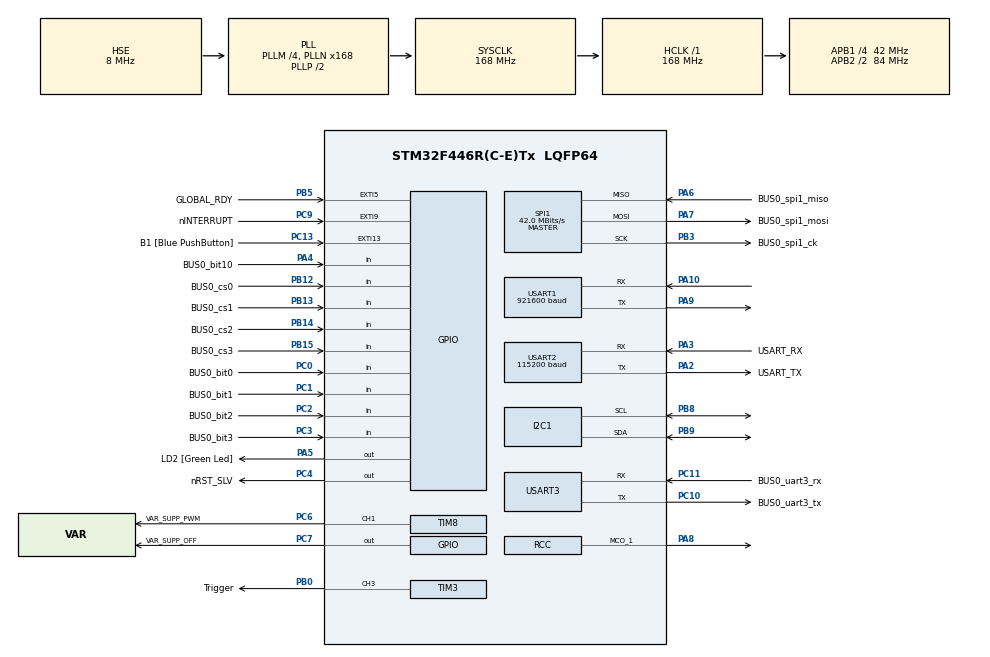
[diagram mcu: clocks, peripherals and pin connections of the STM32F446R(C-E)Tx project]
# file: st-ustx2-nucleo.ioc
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Dma.I2C1_RX.5.Direction=DMA_PERIPH_TO_MEMORY
Dma.I2C1_RX.5.FIFOMode=DMA_FIFOMODE_DISABLE
Dma.I2C1_RX.5.Instance=DMA1_Stream0
Dma.I2C1_RX.5.MemDataAlignment=DMA_MDATAALIGN_BYTE
Dma.I2C1_RX.5.MemInc=DMA_MINC_ENABLE
Dma.I2C1_RX.5.Mode=DMA_NORMAL
Dma.I2C1_RX.5.PeriphDataAlignment=DMA_PDATAALIGN_BYTE
Dma.I2C1_RX.5.PeriphInc=DMA_PINC_DISABLE
Dma.I2C1_RX.5.Priority=DMA_PRIORITY_LOW
Dma.I2C1_TX.4.Direction=DMA_MEMORY_TO_PERIPH
Dma.I2C1_TX.4.FIFOMode=DMA_FIFOMODE_DISABLE
Dma.I2C1_TX.4.Instance=DMA1_Stream7
Dma.I2C1_TX.4.MemDataAlignment=DMA_MDATAALIGN_BYTE
Dma.I2C1_TX.4.MemInc=DMA_MINC_ENABLE
Dma.I2C1_TX.4.Mode=DMA_NORMAL
Dma.I2C1_TX.4.PeriphDataAlignment=DMA_PDATAALIGN_BYTE
Dma.I2C1_TX.4.PeriphInc=DMA_PINC_DISABLE
Dma.I2C1_TX.4.Priority=DMA_PRIORITY_LOW
Dma.Request0=USART2_TX
Dma.Request1=USART2_RX
Dma.Request2=USART1_TX
Dma.Request3=USART1_RX
Dma.Request4=I2C1_TX
Dma.Request5=I2C1_RX
Dma.USART1_RX.3.Direction=DMA_PERIPH_TO_MEMORY
Dma.USART1_RX.3.FIFOMode=DMA_FIFOMODE_DISABLE
Dma.USART1_RX.3.Instance=DMA2_Stream2
Dma.USART1_RX.3.MemDataAlignment=DMA_MDATAALIGN_BYTE
Dma.USART1_RX.3.MemInc=DMA_MINC_ENABLE
Dma.USART1_RX.3.Mode=DMA_NORMAL
Dma.USART1_RX.3.PeriphDataAlignment=DMA_PDATAALIGN_BYTE
Dma.USART1_RX.3.PeriphInc=DMA_PINC_DISABLE
Dma.USART1_RX.3.Priority=DMA_PRIORITY_MEDIUM
Dma.USART1_TX.2.Direction=DMA_MEMORY_TO_PERIPH
Dma.USART1_TX.2.FIFOMode=DMA_FIFOMODE_DISABLE
Dma.USART1_TX.2.Instance=DMA2_Stream7
Dma.USART1_TX.2.MemDataAlignment=DMA_MDATAALIGN_BYTE
Dma.USART1_TX.2.MemInc=DMA_MINC_ENABLE
Dma.USART1_TX.2.Mode=DMA_NORMAL
Dma.USART1_TX.2.PeriphDataAlignment=DMA_PDATAALIGN_BYTE
Dma.USART1_TX.2.PeriphInc=DMA_PINC_DISABLE
Dma.USART1_TX.2.Priority=DMA_PRIORITY_MEDIUM
Dma.USART2_RX.1.Direction=DMA_PERIPH_TO_MEMORY
Dma.USART2_RX.1.FIFOMode=DMA_FIFOMODE_ENABLE
Dma.USART2_RX.1.FIFOThreshold=DMA_FIFO_THRESHOLD_HALFFULL
Dma.USART2_RX.1.Instance=DMA1_Stream5
Dma.USART2_RX.1.MemBurst=DMA_MBURST_SINGLE
Dma.USART2_RX.1.MemDataAlignment=DMA_MDATAALIGN_BYTE
Dma.USART2_RX.1.MemInc=DMA_MINC_ENABLE
Dma.USART2_RX.1.Mode=DMA_CIRCULAR
Dma.USART2_RX.1.PeriphBurst=DMA_PBURST_SINGLE
Dma.USART2_RX.1.PeriphDataAlignment=DMA_PDATAALIGN_BYTE
Dma.USART2_RX.1.PeriphInc=DMA_PINC_DISABLE
Dma.USART2_RX.1.Priority=DMA_PRIORITY_MEDIUM
Dma.USART2_TX.0.Direction=DMA_MEMORY_TO_PERIPH
Dma.USART2_TX.0.FIFOMode=DMA_FIFOMODE_ENABLE
Dma.USART2_TX.0.FIFOThreshold=DMA_FIFO_THRESHOLD_HALFFULL
Dma.USART2_TX.0.Instance=DMA1_Stream6
Dma.USART2_TX.0.MemBurst=DMA_MBURST_SINGLE
Dma.USART2_TX.0.MemDataAlignment=DMA_MDATAALIGN_BYTE
Dma.USART2_TX.0.MemInc=DMA_MINC_ENABLE
Dma.USART2_TX.0.Mode=DMA_NORMAL
Dma.USART2_TX.0.PeriphBurst=DMA_PBURST_SINGLE
Dma.USART2_TX.0.PeriphDataAlignment=DMA_PDATAALIGN_BYTE
Dma.USART2_TX.0.PeriphInc=DMA_PINC_DISABLE
Dma.USART2_TX.0.Priority=DMA_PRIORITY_MEDIUM
I2C1.OwnAddress=0x0
Mcu.Family=STM32F4
Mcu.Name=STM32F446R(C-E)Tx
Mcu.Package=LQFP64
NVIC.DMA1_Stream0_IRQn=true\:0\:0\:false\:false\:true\:false\:true\:true
NVIC.DMA1_Stream5_IRQn=true\:0\:0\:false\:false\:true\:false\:true\:true
NVIC.DMA1_Stream6_IRQn=true\:0\:0\:false\:false\:true\:false\:true\:true
NVIC.DMA1_Stream7_IRQn=true\:0\:0\:false\:false\:true\:false\:true\:true
NVIC.DMA2_Stream2_IRQn=true\:0\:0\:false\:false\:true\:false\:true\:true
NVIC.DMA2_Stream7_IRQn=true\:0\:0\:false\:false\:true\:false\:true\:true
NVIC.EXTI15_10_IRQn=true\:0\:0\:false\:false\:true\:true\:true\:true
NVIC.EXTI9_5_IRQn=true\:0\:0\:false\:false\:true\:true\:true\:true
NVIC.I2C1_ER_IRQn=true\:0\:0\:false\:false\:true\:true\:true\:true
NVIC.I2C1_EV_IRQn=true\:0\:0\:false\:false\:true\:true\:true\:true
NVIC.PriorityGroup=NVIC_PRIORITYGROUP_4
NVIC.TIM6_DAC_IRQn=true\:15\:0\:false\:false\:true\:false\:true\:true
NVIC.TimeBase=TIM6_DAC_IRQn
NVIC.TimeBaseIP=TIM6
NVIC.USART1_IRQn=true\:0\:0\:false\:false\:true\:true\:true\:true
NVIC.USART2_IRQn=true\:0\:0\:false\:false\:true\:true\:true\:true
PA10.Mode=Asynchronous
PA10.Signal=USART1_RX
PA13.GPIO_Label=TMS
PA13.Mode=Serial_Wire
PA13.Signal=SYS_JTMS-SWDIO
PA14.GPIO_Label=TCK
PA14.Mode=Serial_Wire
PA14.Signal=SYS_JTCK-SWCLK
PA2.GPIO_Label=USART_TX
PA2.Mode=Asynchronous
PA2.Signal=USART2_TX
PA3.GPIO_Label=USART_RX
PA3.Mode=Asynchronous
PA3.Signal=USART2_RX
PA4.GPIO_Label=BUS0_bit10
PA4.Signal=GPIO_Input
PA5.GPIO_Label=LD2 [Green Led]
PA5.Signal=GPIO_Output
PA6.GPIO_Label=BUS0_spi1_miso
PA6.Mode=Full_Duplex_Master
PA6.Signal=SPI1_MISO
PA7.GPIO_Label=BUS0_spi1_mosi
PA7.Mode=Full_Duplex_Master
PA7.Signal=SPI1_MOSI
PA8.GPIO_Speed=GPIO_SPEED_FREQ_VERY_HIGH
PA8.Mode=Clock-out-1
PA8.Signal=RCC_MCO_1
PA9.Mode=Asynchronous
PA9.Signal=USART1_TX
PB0.GPIO_Label=Trigger
PB0.GPIO_PuPd=GPIO_NOPULL
PB0.GPIO_Speed=GPIO_SPEED_FREQ_VERY_HIGH
PB0.Signal=S_TIM3_CH3
PB12.GPIO_Label=BUS0_cs0
PB12.Signal=GPIO_Input
PB13.GPIO_Label=BUS0_cs1
PB13.Signal=GPIO_Input
PB14.GPIO_Label=BUS0_cs2
PB14.Signal=GPIO_Input
PB15.GPIO_Label=BUS0_cs3
PB15.Signal=GPIO_Input
PB3.GPIO_Label=BUS0_spi1_ck
PB3.Mode=Full_Duplex_Master
PB3.Signal=SPI1_SCK
PB5.GPIO_Label=GLOBAL_RDY
PB5.Signal=GPXTI5
PB8.Mode=I2C
PB8.Signal=I2C1_SCL
PB9.Mode=I2C
PB9.Signal=I2C1_SDA
PC0.GPIO_Label=BUS0_bit0
PC0.Signal=GPIO_Input
PC1.GPIO_Label=BUS0_bit1
PC1.Signal=GPIO_Input
PC10.GPIO_Label=BUS0_uart3_tx
PC10.Mode=Asynchronous
PC10.Signal=USART3_TX
PC11.GPIO_Label=BUS0_uart3_rx
PC11.Mode=Asynchronous
PC11.Signal=USART3_RX
PC13.GPIO_Label=B1 [Blue PushButton]
PC13.GPIO_ModeDefaultEXTI=GPIO_MODE_IT_FALLING
PC13.Signal=GPXTI13
PC14-OSC32_IN.Mode=LSE-External-Oscillator
PC14-OSC32_IN.Signal=RCC_OSC32_IN
PC15-OSC32_OUT.Mode=LSE-External-Oscillator
PC15-OSC32_OUT.Signal=RCC_OSC32_OUT
PC2.GPIO_Label=BUS0_bit2
PC2.Signal=GPIO_Input
PC3.GPIO_Label=BUS0_bit3
PC3.Signal=GPIO_Input
PC4.GPIO_Label=nRST_SLV
PC4.GPIO_ModeDefaultOutputPP=GPIO_MODE_OUTPUT_OD
PC4.GPIO_PuPd=GPIO_NOPULL
PC4.PinState=GPIO_PIN_SET
PC4.Signal=GPIO_Output
PC6.GPIO_Label=VAR_SUPP_PWM
PC6.Signal=S_TIM8_CH1
PC7.GPIO_Label=VAR_SUPP_OFF
PC7.PinState=GPIO_PIN_SET
PC7.Signal=GPIO_Output
PC9.GPIO_Label=nINTERRUPT
PC9.Signal=GPXTI9
PH0-OSC_IN.Mode=HSE-External-Oscillator
PH0-OSC_IN.Signal=RCC_OSC_IN
PH1-OSC_OUT.Mode=HSE-External-Oscillator
PH1-OSC_OUT.Signal=RCC_OSC_OUT
ProjectManager.HeapSize=0x800
ProjectManager.StackSize=0x1000
ProjectManager.TargetToolchain=STM32CubeIDE
RCC.48MHZClocksFreq_Value=84000000
RCC.AHBFreq_Value=168000000
RCC.APB1CLKDivider=RCC_HCLK_DIV4
RCC.APB1Freq_Value=42000000
RCC.APB1TimFreq_Value=84000000
RCC.APB2CLKDivider=RCC_HCLK_DIV2
RCC.APB2Freq_Value=84000000
RCC.APB2TimFreq_Value=168000000
RCC.CortexFreq_Value=168000000
RCC.FLatency-AdvancedSettings=FLASH_LATENCY_5
RCC.HCLKFreq_Value=168000000
RCC.HSE_VALUE=8000000
RCC.HSI_VALUE=16000000
RCC.PLLM=4
RCC.PLLN=168
RCC.PLLQ=7
RCC.PLLSourceVirtual=RCC_PLLSOURCE_HSE
RCC.RCC_MCO1Source=RCC_MCO1SOURCE_HSE
RCC.RCC_MCODiv1=RCC_MCODIV_4
RCC.SYSCLKFreq_VALUE=168000000
RCC.SYSCLKSource=RCC_SYSCLKSOURCE_PLLCLK
RCC.USBFreq_Value=48000000
RCC.VCOOutputFreq_Value=336000000
SH.S_TIM3_CH3.0=TIM3_CH3,PWM Generation3 CH3
SH.S_TIM8_CH1.0=TIM8_CH1,PWM Generation1 CH1
SPI1.CalculateBaudRate=42.0 MBits/s
SPI1.Direction=SPI_DIRECTION_2LINES
SPI1.Mode=SPI_MODE_MASTER
SPI1.VirtualType=VM_MASTER
TIM3.Channel-PWM\ Generation3\ CH3=TIM_CHANNEL_3
TIM3.Period=49999
TIM3.Prescaler=167
TIM3.Pulse-PWM\ Generation3\ CH3=24999
TIM8.Channel-PWM\ Generation1\ CH1=TIM_CHANNEL_1
TIM8.Period=1000-1
TIM8.Prescaler=168-1
TIM8.Pulse-PWM\ Generation1\ CH1=500-1
USART1.BaudRate=921600
USART1.VirtualMode=VM_ASYNC
USART2.BaudRate=115200
USART2.VirtualMode=VM_ASYNC
USART3.VirtualMode=VM_ASYNC
VP_CRC_VS_CRC.Mode=CRC_Activate
VP_SYS_VS_tim6.Mode=TIM6
VP_TIM3_VS_ClockSourceINT.Mode=Internal
VP_TIM4_VS_ClockSourceINT.Mode=Internal
VP_TIM8_VS_ClockSourceINT.Mode=Internal
board=NUCLEO-F446RE

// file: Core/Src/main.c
/* USER CODE BEGIN Header */
/**
  ******************************************************************************
  * @file           : main.c
  * @brief          : Main program body
  ******************************************************************************
  * @attention
  *
  * Copyright (c) 2023 STMicroelectronics.
  * All rights reserved.
  *
  * This software is licensed under terms that can be found in the LICENSE file
  * in the root directory of this software component.
  * If no LICENSE file comes with this software, it is provided AS-IS.
  *
  ******************************************************************************
  */
/* USER CODE END Header */
#include "main.h"

/* USER CODE BEGIN Includes */
#include "uart_comms.h"
#include "trigger.h"
#include "logging.h"
#include "utils.h"

/* USER CODE END Includes */

CRC_HandleTypeDef hcrc;

I2C_HandleTypeDef hi2c1;
DMA_HandleTypeDef hdma_i2c1_tx;
DMA_HandleTypeDef hdma_i2c1_rx;

SPI_HandleTypeDef hspi1;

TIM_HandleTypeDef htim3;
TIM_HandleTypeDef htim4;
TIM_HandleTypeDef htim8;

UART_HandleTypeDef huart1;
UART_HandleTypeDef huart2;
UART_HandleTypeDef huart3;
DMA_HandleTypeDef hdma_usart1_tx;
DMA_HandleTypeDef hdma_usart1_rx;
DMA_HandleTypeDef hdma_usart2_tx;
DMA_HandleTypeDef hdma_usart2_rx;

/* USER CODE BEGIN PV */
uint8_t found_addresses[MAX_FOUND_ADDRESSES];
uint8_t found_address_count = 0;
/* USER CODE END PV */

void SystemClock_Config(void);
static void MX_GPIO_Init(void);
static void MX_DMA_Init(void);
static void MX_USART2_UART_Init(void);
static void MX_USART3_UART_Init(void);
static void MX_SPI1_Init(void);
static void MX_USART1_UART_Init(void);
static void MX_TIM3_Init(void);
static void MX_I2C1_Init(void);
static void MX_CRC_Init(void);
static void MX_TIM4_Init(void);
static void MX_TIM8_Init(void);
/* USER CODE BEGIN PFP */

uint8_t rxBuffer[COMMAND_MAX_SIZE];
uint8_t txBuffer[COMMAND_MAX_SIZE];
OW_TimerData _timerDataConfig;
OW_TriggerConfig _triggerConfig;

uint8_t FIRMWARE_VERSION_DATA[3] = {1, 0, 5};

/* USER CODE END PFP */

/* USER CODE BEGIN 0 */

static void PrintI2CSpeed(I2C_HandleTypeDef* hi2c) {
    uint32_t timing = hi2c->Init.ClockSpeed;
    printf("I2C Speed: %ld kHz\r\n\r\n", timing/1000); // Print the I2C speed in kHz
}

void setDutyCycle(uint32_t duty_cycle)
{
	TIM_OC_InitTypeDef sConfigOC = {0};

	// duty cyle percentange from 0 - 100
	if(duty_cycle>100)
		duty_cycle = 100;

    HAL_TIM_PWM_Stop(&htim8, TIM_CHANNEL_1);
    // Calculate pulse value
    uint32_t pulse = (duty_cycle * (htim8.Init.Period + 1)) / 100;
    if(pulse>0)
    	pulse = pulse -1;

    // Update PWM pulse
    sConfigOC.OCMode = TIM_OCMODE_PWM1;
    sConfigOC.Pulse = pulse;
    sConfigOC.OCPolarity = TIM_OCPOLARITY_HIGH;
    sConfigOC.OCNPolarity = TIM_OCNPOLARITY_HIGH;
    sConfigOC.OCFastMode = TIM_OCFAST_DISABLE;
    sConfigOC.OCIdleState = TIM_OCIDLESTATE_RESET;
    sConfigOC.OCNIdleState = TIM_OCNIDLESTATE_RESET;
    if (HAL_TIM_PWM_ConfigChannel(&htim8, &sConfigOC, TIM_CHANNEL_1) != HAL_OK)
    {
      Error_Handler();
    }

    HAL_TIM_PWM_ConfigChannel(&htim8, &sConfigOC, TIM_CHANNEL_1);
    HAL_TIM_PWM_Start(&htim8, TIM_CHANNEL_1);
}

/* USER CODE END 0 */

int main(void)
{

  /* MCU Configuration--------------------------------------------------------*/

  /* Reset of all peripherals, Initializes the Flash interface and the Systick. */
  HAL_Init();

  /* Configure the system clock */
  SystemClock_Config();

  /* Initialize all configured peripherals */
  MX_GPIO_Init();
  MX_DMA_Init();
  MX_USART2_UART_Init();
  MX_USART3_UART_Init();
  MX_SPI1_Init();
  MX_USART1_UART_Init();
  MX_TIM3_Init();
  MX_I2C1_Init();
  MX_CRC_Init();
  MX_TIM4_Init();
  MX_TIM8_Init();
  /* USER CODE BEGIN 2 */
  init_dma_logging();
  printf("\033c");
  printf("Openwater USTX2 Controller (Nucleo) FW v%d.%d.%d\r\n\r\n",FIRMWARE_VERSION_DATA[0], FIRMWARE_VERSION_DATA[1], FIRMWARE_VERSION_DATA[2]);
  printf("CPU Clock Frequency: %lu MHz\r\n", HAL_RCC_GetSysClockFreq() / 1000000);
  PrintI2CSpeed(&hi2c1);

  // setup default
  _timerDataConfig.TriggerFrequencyHz = 10;
  _timerDataConfig.TriggerPulseCount = 0; // no pulse count
  _timerDataConfig.TriggerPulseWidthUsec = 5000;
  _timerDataConfig.TriggerMode = 0; // continuous

  init_trigger_pulse(&htim3, TIM_CHANNEL_3);
  HAL_Delay(1);
  deinit_trigger_pulse(&htim3, TIM_CHANNEL_3);

  setDutyCycle(75); // Set duty cycle to 25%
  // HAL_TIM_PWM_Start(&htim8, TIM_CHANNEL_1);
  HAL_Delay(1000);

  // turn on power supply
  HAL_GPIO_WritePin(VAR_SUPP_OFF_GPIO_Port, VAR_SUPP_OFF_Pin, GPIO_PIN_RESET);

  HAL_Delay(1000);

  comms_start_task();

  /* USER CODE END 2 */

  /* Infinite loop */
  while (1)
  {

  }
}

void SystemClock_Config(void)
{
  RCC_OscInitTypeDef RCC_OscInitStruct = {0};
  RCC_ClkInitTypeDef RCC_ClkInitStruct = {0};

  /** Configure the main internal regulator output voltage
  */
  __HAL_RCC_PWR_CLK_ENABLE();
  __HAL_PWR_VOLTAGESCALING_CONFIG(PWR_REGULATOR_VOLTAGE_SCALE1);

  /** Initializes the RCC Oscillators according to the specified parameters
  * in the RCC_OscInitTypeDef structure.
  */
  RCC_OscInitStruct.OscillatorType = RCC_OSCILLATORTYPE_HSE;
  RCC_OscInitStruct.HSEState = RCC_HSE_ON;
  RCC_OscInitStruct.PLL.PLLState = RCC_PLL_ON;
  RCC_OscInitStruct.PLL.PLLSource = RCC_PLLSOURCE_HSE;
  RCC_OscInitStruct.PLL.PLLM = 4;
  RCC_OscInitStruct.PLL.PLLN = 168;
  RCC_OscInitStruct.PLL.PLLP = RCC_PLLP_DIV2;
  RCC_OscInitStruct.PLL.PLLQ = 7;
  RCC_OscInitStruct.PLL.PLLR = 2;
  if (HAL_RCC_OscConfig(&RCC_OscInitStruct) != HAL_OK)
  {
    Error_Handler();
  }

  /** Initializes the CPU, AHB and APB buses clocks
  */
  RCC_ClkInitStruct.ClockType = RCC_CLOCKTYPE_HCLK|RCC_CLOCKTYPE_SYSCLK
                              |RCC_CLOCKTYPE_PCLK1|RCC_CLOCKTYPE_PCLK2;
  RCC_ClkInitStruct.SYSCLKSource = RCC_SYSCLKSOURCE_PLLCLK;
  RCC_ClkInitStruct.AHBCLKDivider = RCC_SYSCLK_DIV1;
  RCC_ClkInitStruct.APB1CLKDivider = RCC_HCLK_DIV4;
  RCC_ClkInitStruct.APB2CLKDivider = RCC_HCLK_DIV2;

  if (HAL_RCC_ClockConfig(&RCC_ClkInitStruct, FLASH_LATENCY_5) != HAL_OK)
  {
    Error_Handler();
  }
  HAL_RCC_MCOConfig(RCC_MCO1, RCC_MCO1SOURCE_HSE, RCC_MCODIV_4);
}

static void MX_CRC_Init(void)
{

  hcrc.Instance = CRC;
  if (HAL_CRC_Init(&hcrc) != HAL_OK)
  {
    Error_Handler();
  }

}

static void MX_I2C1_Init(void)
{

  hi2c1.Instance = I2C1;
  hi2c1.Init.ClockSpeed = 100000;
  hi2c1.Init.DutyCycle = I2C_DUTYCYCLE_2;
  hi2c1.Init.OwnAddress1 = 0;
  hi2c1.Init.AddressingMode = I2C_ADDRESSINGMODE_7BIT;
  hi2c1.Init.DualAddressMode = I2C_DUALADDRESS_DISABLE;
  hi2c1.Init.OwnAddress2 = 0;
  hi2c1.Init.GeneralCallMode = I2C_GENERALCALL_DISABLE;
  hi2c1.Init.NoStretchMode = I2C_NOSTRETCH_DISABLE;
  if (HAL_I2C_Init(&hi2c1) != HAL_OK)
  {
    Error_Handler();
  }

}

static void MX_SPI1_Init(void)
{

  /* SPI1 parameter configuration*/
  hspi1.Instance = SPI1;
  hspi1.Init.Mode = SPI_MODE_MASTER;
  hspi1.Init.Direction = SPI_DIRECTION_2LINES;
  hspi1.Init.DataSize = SPI_DATASIZE_8BIT;
  hspi1.Init.CLKPolarity = SPI_POLARITY_LOW;
  hspi1.Init.CLKPhase = SPI_PHASE_1EDGE;
  hspi1.Init.NSS = SPI_NSS_SOFT;
  hspi1.Init.BaudRatePrescaler = SPI_BAUDRATEPRESCALER_2;
  hspi1.Init.FirstBit = SPI_FIRSTBIT_MSB;
  hspi1.Init.TIMode = SPI_TIMODE_DISABLE;
  hspi1.Init.CRCCalculation = SPI_CRCCALCULATION_DISABLE;
  hspi1.Init.CRCPolynomial = 10;
  if (HAL_SPI_Init(&hspi1) != HAL_OK)
  {
    Error_Handler();
  }

}

static void MX_TIM3_Init(void)
{

  TIM_ClockConfigTypeDef sClockSourceConfig = {0};
  TIM_MasterConfigTypeDef sMasterConfig = {0};
  TIM_OC_InitTypeDef sConfigOC = {0};

  htim3.Instance = TIM3;
  htim3.Init.Prescaler = 167;
  htim3.Init.CounterMode = TIM_COUNTERMODE_UP;
  htim3.Init.Period = 49999;
  htim3.Init.ClockDivision = TIM_CLOCKDIVISION_DIV1;
  htim3.Init.AutoReloadPreload = TIM_AUTORELOAD_PRELOAD_DISABLE;
  if (HAL_TIM_Base_Init(&htim3) != HAL_OK)
  {
    Error_Handler();
  }
  sClockSourceConfig.ClockSource = TIM_CLOCKSOURCE_INTERNAL;
  if (HAL_TIM_ConfigClockSource(&htim3, &sClockSourceConfig) != HAL_OK)
  {
    Error_Handler();
  }
  if (HAL_TIM_PWM_Init(&htim3) != HAL_OK)
  {
    Error_Handler();
  }
  sMasterConfig.MasterOutputTrigger = TIM_TRGO_RESET;
  sMasterConfig.MasterSlaveMode = TIM_MASTERSLAVEMODE_DISABLE;
  if (HAL_TIMEx_MasterConfigSynchronization(&htim3, &sMasterConfig) != HAL_OK)
  {
    Error_Handler();
  }
  sConfigOC.OCMode = TIM_OCMODE_PWM1;
  sConfigOC.Pulse = 24999;
  sConfigOC.OCPolarity = TIM_OCPOLARITY_HIGH;
  sConfigOC.OCFastMode = TIM_OCFAST_DISABLE;
  if (HAL_TIM_PWM_ConfigChannel(&htim3, &sConfigOC, TIM_CHANNEL_3) != HAL_OK)
  {
    Error_Handler();
  }
  HAL_TIM_MspPostInit(&htim3);

}

static void MX_TIM4_Init(void)
{

  TIM_ClockConfigTypeDef sClockSourceConfig = {0};
  TIM_MasterConfigTypeDef sMasterConfig = {0};

  htim4.Instance = TIM4;
  htim4.Init.Prescaler = 0;
  htim4.Init.CounterMode = TIM_COUNTERMODE_UP;
  htim4.Init.Period = 65535;
  htim4.Init.ClockDivision = TIM_CLOCKDIVISION_DIV1;
  htim4.Init.AutoReloadPreload = TIM_AUTORELOAD_PRELOAD_DISABLE;
  if (HAL_TIM_Base_Init(&htim4) != HAL_OK)
  {
    Error_Handler();
  }
  sClockSourceConfig.ClockSource = TIM_CLOCKSOURCE_INTERNAL;
  if (HAL_TIM_ConfigClockSource(&htim4, &sClockSourceConfig) != HAL_OK)
  {
    Error_Handler();
  }
  sMasterConfig.MasterOutputTrigger = TIM_TRGO_RESET;
  sMasterConfig.MasterSlaveMode = TIM_MASTERSLAVEMODE_DISABLE;
  if (HAL_TIMEx_MasterConfigSynchronization(&htim4, &sMasterConfig) != HAL_OK)
  {
    Error_Handler();
  }

}

static void MX_TIM8_Init(void)
{

  TIM_ClockConfigTypeDef sClockSourceConfig = {0};
  TIM_MasterConfigTypeDef sMasterConfig = {0};
  TIM_OC_InitTypeDef sConfigOC = {0};
  TIM_BreakDeadTimeConfigTypeDef sBreakDeadTimeConfig = {0};

  htim8.Instance = TIM8;
  htim8.Init.Prescaler = 168-1;
  htim8.Init.CounterMode = TIM_COUNTERMODE_UP;
  htim8.Init.Period = 1000-1;
  htim8.Init.ClockDivision = TIM_CLOCKDIVISION_DIV1;
  htim8.Init.RepetitionCounter = 0;
  htim8.Init.AutoReloadPreload = TIM_AUTORELOAD_PRELOAD_DISABLE;
  if (HAL_TIM_Base_Init(&htim8) != HAL_OK)
  {
    Error_Handler();
  }
  sClockSourceConfig.ClockSource = TIM_CLOCKSOURCE_INTERNAL;
  if (HAL_TIM_ConfigClockSource(&htim8, &sClockSourceConfig) != HAL_OK)
  {
    Error_Handler();
  }
  if (HAL_TIM_PWM_Init(&htim8) != HAL_OK)
  {
    Error_Handler();
  }
  sMasterConfig.MasterOutputTrigger = TIM_TRGO_RESET;
  sMasterConfig.MasterSlaveMode = TIM_MASTERSLAVEMODE_DISABLE;
  if (HAL_TIMEx_MasterConfigSynchronization(&htim8, &sMasterConfig) != HAL_OK)
  {
    Error_Handler();
  }
  sConfigOC.OCMode = TIM_OCMODE_PWM1;
  sConfigOC.Pulse = 500-1;
  sConfigOC.OCPolarity = TIM_OCPOLARITY_HIGH;
  sConfigOC.OCNPolarity = TIM_OCNPOLARITY_HIGH;
  sConfigOC.OCFastMode = TIM_OCFAST_DISABLE;
  sConfigOC.OCIdleState = TIM_OCIDLESTATE_RESET;
  sConfigOC.OCNIdleState = TIM_OCNIDLESTATE_RESET;
  if (HAL_TIM_PWM_ConfigChannel(&htim8, &sConfigOC, TIM_CHANNEL_1) != HAL_OK)
  {
    Error_Handler();
  }
  sBreakDeadTimeConfig.OffStateRunMode = TIM_OSSR_DISABLE;
  sBreakDeadTimeConfig.OffStateIDLEMode = TIM_OSSI_DISABLE;
  sBreakDeadTimeConfig.LockLevel = TIM_LOCKLEVEL_OFF;
  sBreakDeadTimeConfig.DeadTime = 0;
  sBreakDeadTimeConfig.BreakState = TIM_BREAK_DISABLE;
  sBreakDeadTimeConfig.BreakPolarity = TIM_BREAKPOLARITY_HIGH;
  sBreakDeadTimeConfig.AutomaticOutput = TIM_AUTOMATICOUTPUT_DISABLE;
  if (HAL_TIMEx_ConfigBreakDeadTime(&htim8, &sBreakDeadTimeConfig) != HAL_OK)
  {
    Error_Handler();
  }
  HAL_TIM_MspPostInit(&htim8);

}

static void MX_USART1_UART_Init(void)
{

  huart1.Instance = USART1;
  huart1.Init.BaudRate = 921600;
  huart1.Init.WordLength = UART_WORDLENGTH_8B;
  huart1.Init.StopBits = UART_STOPBITS_1;
  huart1.Init.Parity = UART_PARITY_NONE;
  huart1.Init.Mode = UART_MODE_TX_RX;
  huart1.Init.HwFlowCtl = UART_HWCONTROL_NONE;
  huart1.Init.OverSampling = UART_OVERSAMPLING_16;
  if (HAL_UART_Init(&huart1) != HAL_OK)
  {
    Error_Handler();
  }

}

static void MX_USART2_UART_Init(void)
{

  huart2.Instance = USART2;
  huart2.Init.BaudRate = 115200;
  huart2.Init.WordLength = UART_WORDLENGTH_8B;
  huart2.Init.StopBits = UART_STOPBITS_1;
  huart2.Init.Parity = UART_PARITY_NONE;
  huart2.Init.Mode = UART_MODE_TX_RX;
  huart2.Init.HwFlowCtl = UART_HWCONTROL_NONE;
  huart2.Init.OverSampling = UART_OVERSAMPLING_16;
  if (HAL_UART_Init(&huart2) != HAL_OK)
  {
    Error_Handler();
  }

}

static void MX_USART3_UART_Init(void)
{

  huart3.Instance = USART3;
  huart3.Init.BaudRate = 115200;
  huart3.Init.WordLength = UART_WORDLENGTH_8B;
  huart3.Init.StopBits = UART_STOPBITS_1;
  huart3.Init.Parity = UART_PARITY_NONE;
  huart3.Init.Mode = UART_MODE_TX_RX;
  huart3.Init.HwFlowCtl = UART_HWCONTROL_NONE;
  huart3.Init.OverSampling = UART_OVERSAMPLING_16;
  if (HAL_UART_Init(&huart3) != HAL_OK)
  {
    Error_Handler();
  }

}

static void MX_DMA_Init(void)
{

  /* DMA controller clock enable */
  __HAL_RCC_DMA1_CLK_ENABLE();
  __HAL_RCC_DMA2_CLK_ENABLE();

  /* DMA interrupt init */
  /* DMA1_Stream0_IRQn interrupt configuration */
  HAL_NVIC_SetPriority(DMA1_Stream0_IRQn, 0, 0);
  HAL_NVIC_EnableIRQ(DMA1_Stream0_IRQn);
  /* DMA1_Stream5_IRQn interrupt configuration */
  HAL_NVIC_SetPriority(DMA1_Stream5_IRQn, 0, 0);
  HAL_NVIC_EnableIRQ(DMA1_Stream5_IRQn);
  /* DMA1_Stream6_IRQn interrupt configuration */
  HAL_NVIC_SetPriority(DMA1_Stream6_IRQn, 0, 0);
  HAL_NVIC_EnableIRQ(DMA1_Stream6_IRQn);
  /* DMA1_Stream7_IRQn interrupt configuration */
  HAL_NVIC_SetPriority(DMA1_Stream7_IRQn, 0, 0);
  HAL_NVIC_EnableIRQ(DMA1_Stream7_IRQn);
  /* DMA2_Stream2_IRQn interrupt configuration */
  HAL_NVIC_SetPriority(DMA2_Stream2_IRQn, 0, 0);
  HAL_NVIC_EnableIRQ(DMA2_Stream2_IRQn);
  /* DMA2_Stream7_IRQn interrupt configuration */
  HAL_NVIC_SetPriority(DMA2_Stream7_IRQn, 0, 0);
  HAL_NVIC_EnableIRQ(DMA2_Stream7_IRQn);

}

static void MX_GPIO_Init(void)
{
  GPIO_InitTypeDef GPIO_InitStruct = {0};

  /* GPIO Ports Clock Enable */
  __HAL_RCC_GPIOC_CLK_ENABLE();
  __HAL_RCC_GPIOH_CLK_ENABLE();
  __HAL_RCC_GPIOA_CLK_ENABLE();
  __HAL_RCC_GPIOB_CLK_ENABLE();

  /*Configure GPIO pin Output Level */
  HAL_GPIO_WritePin(LD2_GPIO_Port, LD2_Pin, GPIO_PIN_RESET);

  /*Configure GPIO pin Output Level */
  HAL_GPIO_WritePin(GPIOC, nRST_SLV_Pin|VAR_SUPP_OFF_Pin, GPIO_PIN_SET);

  /*Configure GPIO pin : B1_Pin */
  GPIO_InitStruct.Pin = B1_Pin;
  GPIO_InitStruct.Mode = GPIO_MODE_IT_FALLING;
  GPIO_InitStruct.Pull = GPIO_NOPULL;
  HAL_GPIO_Init(B1_GPIO_Port, &GPIO_InitStruct);

  /*Configure GPIO pins : BUS0_bit0_Pin BUS0_bit1_Pin BUS0_bit2_Pin BUS0_bit3_Pin */
  GPIO_InitStruct.Pin = BUS0_bit0_Pin|BUS0_bit1_Pin|BUS0_bit2_Pin|BUS0_bit3_Pin;
  GPIO_InitStruct.Mode = GPIO_MODE_INPUT;
  GPIO_InitStruct.Pull = GPIO_NOPULL;
  HAL_GPIO_Init(GPIOC, &GPIO_InitStruct);

  /*Configure GPIO pin : BUS0_bit10_Pin */
  GPIO_InitStruct.Pin = BUS0_bit10_Pin;
  GPIO_InitStruct.Mode = GPIO_MODE_INPUT;
  GPIO_InitStruct.Pull = GPIO_NOPULL;
  HAL_GPIO_Init(BUS0_bit10_GPIO_Port, &GPIO_InitStruct);

  /*Configure GPIO pin : LD2_Pin */
  GPIO_InitStruct.Pin = LD2_Pin;
  GPIO_InitStruct.Mode = GPIO_MODE_OUTPUT_PP;
  GPIO_InitStruct.Pull = GPIO_NOPULL;
  GPIO_InitStruct.Speed = GPIO_SPEED_FREQ_LOW;
  HAL_GPIO_Init(LD2_GPIO_Port, &GPIO_InitStruct);

  /*Configure GPIO pin : nRST_SLV_Pin */
  GPIO_InitStruct.Pin = nRST_SLV_Pin;
  GPIO_InitStruct.Mode = GPIO_MODE_OUTPUT_OD;
  GPIO_InitStruct.Pull = GPIO_NOPULL;
  GPIO_InitStruct.Speed = GPIO_SPEED_FREQ_LOW;
  HAL_GPIO_Init(nRST_SLV_GPIO_Port, &GPIO_InitStruct);

  /*Configure GPIO pins : BUS0_cs0_Pin BUS0_cs1_Pin BUS0_cs2_Pin BUS0_cs3_Pin */
  GPIO_InitStruct.Pin = BUS0_cs0_Pin|BUS0_cs1_Pin|BUS0_cs2_Pin|BUS0_cs3_Pin;
  GPIO_InitStruct.Mode = GPIO_MODE_INPUT;
  GPIO_InitStruct.Pull = GPIO_NOPULL;
  HAL_GPIO_Init(GPIOB, &GPIO_InitStruct);

  /*Configure GPIO pin : VAR_SUPP_OFF_Pin */
  GPIO_InitStruct.Pin = VAR_SUPP_OFF_Pin;
  GPIO_InitStruct.Mode = GPIO_MODE_OUTPUT_PP;
  GPIO_InitStruct.Pull = GPIO_NOPULL;
  GPIO_InitStruct.Speed = GPIO_SPEED_FREQ_LOW;
  HAL_GPIO_Init(VAR_SUPP_OFF_GPIO_Port, &GPIO_InitStruct);

  /*Configure GPIO pin : nINTERRUPT_Pin */
  GPIO_InitStruct.Pin = nINTERRUPT_Pin;
  GPIO_InitStruct.Mode = GPIO_MODE_IT_RISING;
  GPIO_InitStruct.Pull = GPIO_NOPULL;
  HAL_GPIO_Init(nINTERRUPT_GPIO_Port, &GPIO_InitStruct);

  /*Configure GPIO pin : PA8 */
  GPIO_InitStruct.Pin = GPIO_PIN_8;
  GPIO_InitStruct.Mode = GPIO_MODE_AF_PP;
  GPIO_InitStruct.Pull = GPIO_NOPULL;
  GPIO_InitStruct.Speed = GPIO_SPEED_FREQ_VERY_HIGH;
  GPIO_InitStruct.Alternate = GPIO_AF0_MCO;
  HAL_GPIO_Init(GPIOA, &GPIO_InitStruct);

  /*Configure GPIO pin : GLOBAL_RDY_Pin */
  GPIO_InitStruct.Pin = GLOBAL_RDY_Pin;
  GPIO_InitStruct.Mode = GPIO_MODE_IT_RISING;
  GPIO_InitStruct.Pull = GPIO_NOPULL;
  HAL_GPIO_Init(GLOBAL_RDY_GPIO_Port, &GPIO_InitStruct);

  /* EXTI interrupt init*/
  HAL_NVIC_SetPriority(EXTI9_5_IRQn, 0, 0);
  HAL_NVIC_EnableIRQ(EXTI9_5_IRQn);

  HAL_NVIC_SetPriority(EXTI15_10_IRQn, 0, 0);
  HAL_NVIC_EnableIRQ(EXTI15_10_IRQn);

}

/* USER CODE BEGIN 4 */

void HAL_I2C_AddrCallback(I2C_HandleTypeDef *hi2c, uint8_t TransferDirection, uint16_t AddrMatchCode) {
    // Address match callback
    // This function is called when the I2C slave address is matched by the master

}

void HAL_I2C_RxCpltCallback(I2C_HandleTypeDef *hi2c) {
    // Data reception callback
    // This function is called when data is received from the master
}

void HAL_I2C_ErrorCallback(I2C_HandleTypeDef *hi2c) {
    // Error callback
    // Handle I2C errors here
}

void HAL_UARTEx_RxEventCallback(UART_HandleTypeDef *huart, uint16_t Size)
{
	if(huart->Instance == USART1)
	{
		comms_handle_RxCpltCallback(huart, Size);
	}
}

void HAL_UART_RxHalfCpltCallback(UART_HandleTypeDef *huart)
{
	if(huart->Instance == USART1)
	{
		comms_handle_RxCpltCallback(huart, 0);
	}
}

void HAL_UART_RxCpltCallback(UART_HandleTypeDef *huart)
{
	if(huart->Instance == USART1)
	{
		comms_handle_RxCpltCallback(huart, 1);
	}
}

void HAL_UART_TxCpltCallback(UART_HandleTypeDef *huart)
{
	if(huart->Instance == USART1)
	{
		comms_handle_TxCallback(huart);
	}
	else if(huart->Instance == USART2)
	{
		logging_UART_TxCpltCallback(huart);
	}
}

/* USER CODE END 4 */

void HAL_TIM_PeriodElapsedCallback(TIM_HandleTypeDef *htim)
{
  if (htim->Instance == TIM6) {
    HAL_IncTick();
  }
}

void Error_Handler(void)
{
  /* USER CODE BEGIN Error_Handler_Debug */
  /* User can add his own implementation to report the HAL error return state */
  printf("===> ERROR HANDLER\r\n");
  __disable_irq();
  while (1)
  {
  }
  /* USER CODE END Error_Handler_Debug */
}
